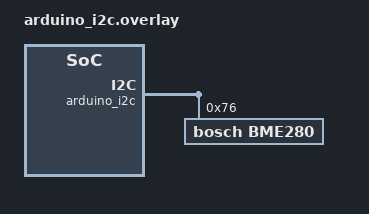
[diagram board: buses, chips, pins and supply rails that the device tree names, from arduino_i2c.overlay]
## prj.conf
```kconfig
CONFIG_SYSTEM_WORKQUEUE_STACK_SIZE=2048

CONFIG_BT=y
CONFIG_BT_DEBUG_LOG=y
CONFIG_BT_SMP=y
CONFIG_BT_SIGNING=y
CONFIG_BT_PERIPHERAL=y
CONFIG_BT_DIS=y
CONFIG_BT_ATT_PREPARE_COUNT=5
CONFIG_BT_BAS=n
CONFIG_BT_HRS=n
CONFIG_BT_IAS=n
CONFIG_BT_PRIVACY=y
CONFIG_BT_DEVICE_NAME="TestosteronowyPotwór"
CONFIG_BT_DEVICE_APPEARANCE=833
CONFIG_BT_DEVICE_NAME_DYNAMIC=y
CONFIG_BT_DEVICE_NAME_MAX=65

CONFIG_BT_KEYS_OVERWRITE_OLDEST=y
CONFIG_BT_SETTINGS=y
CONFIG_FLASH=y
CONFIG_FLASH_PAGE_LAYOUT=y
CONFIG_FLASH_MAP=y
CONFIG_NVS=y
CONFIG_SETTINGS=y
CONFIG_SENSOR=y
```

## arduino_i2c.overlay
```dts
/*
 * Copyright (c) 2020, Nordic Semiconductor ASA
 *
 * SPDX-License-Identifier: Apache-2.0
 */

/*
 * Example configuration of a BME280 device on an Arduino I2C bus.
 *
 * Device address 0x77 is assumed. Your device may have a different
 * address; check your device documentation if unsure.
 */
&arduino_i2c {
	status = "okay";
	bme280@77 {
		compatible = "bosch,bme280";
		reg = <0x76>;
	};
};
```

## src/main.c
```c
#include <zephyr/types.h>
#include <stddef.h>
#include <string.h>
#include <errno.h>
#include <zephyr/sys/printk.h>
#include <zephyr/sys/byteorder.h>
#include <zephyr/kernel.h>

#include <zephyr/settings/settings.h>

#include <zephyr/bluetooth/bluetooth.h>
#include <zephyr/bluetooth/hci.h>
#include <zephyr/bluetooth/conn.h>
#include <zephyr/bluetooth/uuid.h>
#include <zephyr/bluetooth/gatt.h>
#include <zephyr/bluetooth/services/bas.h>
// #include <zephyr/bluetooth/services/hrs.h>
#include <zephyr/bluetooth/services/ias.h>

#include <zephyr/device.h>
#include <zephyr/devicetree.h>
#include <zephyr/drivers/sensor.h>
#include <zephyr/drivers/gpio.h>



static const struct bt_data ad[] = {
	BT_DATA_BYTES(BT_DATA_FLAGS, (BT_LE_AD_GENERAL | BT_LE_AD_NO_BREDR)),
	BT_DATA_BYTES(BT_DATA_UUID16_ALL,
			  BT_UUID_16_ENCODE(BT_UUID_TEMPERATURE_VAL),
		      BT_UUID_16_ENCODE(BT_UUID_PRESSURE_VAL)),
};

void mtu_updated(struct bt_conn *conn, uint16_t tx, uint16_t rx)
{
	printk("Updated MTU: TX: %d RX: %d bytes\n", tx, rx);
}

static struct bt_gatt_cb gatt_callbacks = {
	.att_mtu_updated = mtu_updated
};

static void connected(struct bt_conn *conn, uint8_t err)
{
	if (err) {
		printk("Connection failed (err 0x%02x)\n", err);
	} else {
		printk("Connected\n");
	}
}

static void disconnected(struct bt_conn *conn, uint8_t reason)
{
	printk("Disconnected (reason 0x%02x)\n", reason);
}

BT_CONN_CB_DEFINE(conn_callbacks) = {
	.connected = connected,
	.disconnected = disconnected,
};

static void bt_ready(void)
{
	int err;

	printk("Bluetooth initialized\n");

	//cts_init();

	if (IS_ENABLED(CONFIG_SETTINGS)) {
		settings_load();
	}

	err = bt_le_adv_start(BT_LE_ADV_CONN_NAME, ad, ARRAY_SIZE(ad), NULL, 0);
	if (err) {
		printk("Advertising failed to start (err %d)\n", err);
		return;
	}

	printk("Advertising successfully started\n");
}

static void auth_passkey_display(struct bt_conn *conn, unsigned int passkey)
{
	char addr[BT_ADDR_LE_STR_LEN];

	bt_addr_le_to_str(bt_conn_get_dst(conn), addr, sizeof(addr));

	printk("Passkey for %s: %06u\n", addr, passkey);
}

static void auth_cancel(struct bt_conn *conn)
{
	char addr[BT_ADDR_LE_STR_LEN];

	bt_addr_le_to_str(bt_conn_get_dst(conn), addr, sizeof(addr));

	printk("Pairing cancelled: %s\n", addr);
}

static struct bt_conn_auth_cb auth_cb_display = {
	.passkey_display = auth_passkey_display,
	.passkey_entry = NULL,
	.cancel = auth_cancel,
};

//TEMPERATURE

struct float_16_bmp {
	uint8_t integral;
	uint8_t floating;
};

static struct float_16_bmp ct;
static struct float_16_bmp cp;
//static uint8_t ct;
//static uint8_t cp;


static void ct_ccc_cfg_changed(const struct bt_gatt_attr *attr, uint16_t value)
{
	/* TODO: Handle value */
}

static void cp_ccc_cfg_changed(const struct bt_gatt_attr *attr, uint16_t value)
{
	/* TODO: Handle value */
}


static ssize_t read_ct(struct bt_conn *conn, const struct bt_gatt_attr *attr,
		       void *buf, uint16_t len, uint16_t offset)
{
	const char *value = attr->user_data;

	return bt_gatt_attr_read(conn, attr, buf, len, offset, value,
				 sizeof(ct));
}

static ssize_t read_cp(struct bt_conn *conn, const struct bt_gatt_attr *attr,
		       void *buf, uint16_t len, uint16_t offset)
{
	const char *value = attr->user_data;

	return bt_gatt_attr_read(conn, attr, buf, len, offset, value,
				 sizeof(cp));
}

/* Current pressure Service Declaration */
BT_GATT_SERVICE_DEFINE(cp_cvs,
	BT_GATT_PRIMARY_SERVICE(BT_UUID_PRESSURE),
	BT_GATT_CHARACTERISTIC(BT_UUID_PRESSURE, BT_GATT_CHRC_READ |
			       BT_GATT_CHRC_NOTIFY  ,
			       BT_GATT_PERM_READ  ,
			       read_cp, NULL, &cp),
	BT_GATT_CHARACTERISTIC(BT_UUID_TEMPERATURE, BT_GATT_CHRC_READ |
			       BT_GATT_CHRC_NOTIFY  ,
			       BT_GATT_PERM_READ  ,
			       read_ct, NULL, &ct),
	BT_GATT_CCC(cp_ccc_cfg_changed, BT_GATT_PERM_READ | BT_GATT_PERM_WRITE),
);

static const struct device *get_bme280_device(void)
{
	const struct device *const dev = DEVICE_DT_GET_ANY(bosch_bme280);

	if (dev == NULL) {
		/* No such node, or the node does not have status "okay". */
		printk("\nError: no device found.\n");
		return NULL;
	}

	if (!device_is_ready(dev)) {
		printk("\nError: Device \"%s\" is not ready; "
		       "check the driver initialization logs for errors.\n",
		       dev->name);
		return NULL;
	}

	printk("Found device \"%s\", getting sensor data\n", dev->name);
	return dev;
}

#define LED0_NODE DT_ALIAS(led0)

static const struct gpio_dt_spec led = GPIO_DT_SPEC_GET(LED0_NODE, gpios);


void main(void)
{
	int err;


	struct sensor_value temp, press;

	const struct device *dev = get_bme280_device();

	if (!gpio_is_ready_dt(&led)) {
		return;
	}

	err = gpio_pin_configure_dt(&led, GPIO_OUTPUT_ACTIVE);
	if (err < 0) {
		return;
	}

	if (dev == NULL) {
		return;
	}


	err = bt_enable(NULL);
	if (err) {
		printk("Bluetooth init failed {err %d\n}",err);
		return;
	}

	bt_ready();
	bt_gatt_cb_register(&gatt_callbacks);
	bt_conn_auth_cb_register(&auth_cb_display);
	int i = 0;
	while (1) {
		
		
		gpio_pin_toggle_dt(&led);
		sensor_sample_fetch(dev);
		sensor_channel_get(dev, SENSOR_CHAN_AMBIENT_TEMP, &temp); //Revert cuz of bme280 struct
		sensor_channel_get(dev, SENSOR_CHAN_PRESS, &press); 
		
		memcpy(&cp.integral, &press.val1, 1);
		memcpy(&ct.integral, &temp.val1, 1);
		memcpy(&cp.floating, &press.val2, 1);
		memcpy(&ct.floating, &temp.val2, 1);


		bt_gatt_notify(NULL, &cp_cvs.attrs[2], &ct, sizeof(ct)); // temp
		bt_gatt_notify(NULL, &cp_cvs.attrs[1], &cp, sizeof(cp)); // press
		gpio_pin_toggle_dt(&led);
		k_sleep(K_SECONDS(5));
	}
}
```
